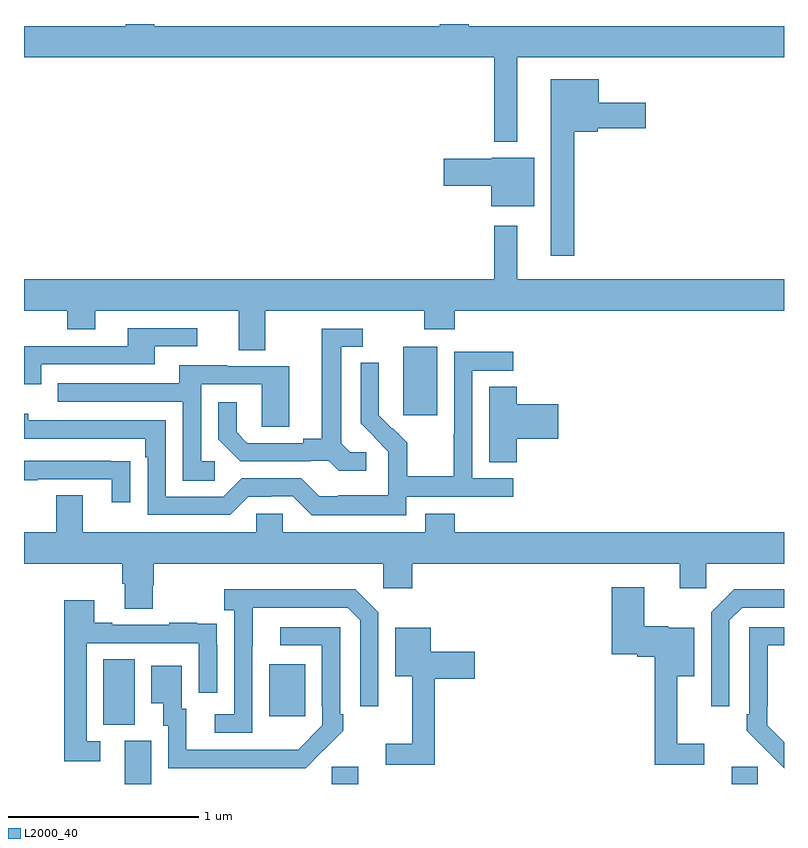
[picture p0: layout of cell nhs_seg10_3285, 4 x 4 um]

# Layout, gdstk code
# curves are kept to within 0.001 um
import gdstk
lib = gdstk.Library(unit=1e-6, precision=1e-09)
def R(c, l, rs):  # rectangles x0, y0, x1, y1
    for r in rs: c.add(gdstk.rectangle(r[:2], r[2:], *l))
def P(c, l, *ps):  # polygons
    for p in ps: c.add(gdstk.Polygon(p, *l))
L2000_40 = (2000, 40)

nhs_seg10_3285 = lib.new_cell('nhs_seg10_3285')
R(nhs_seg10_3285, L2000_40, [(289.529,1288.5,289.669,1288.728), (290.619,1288.5,290.758,1288.59), (292.724,1288.5,292.863,1288.59), (289.418,1288.813,289.582,1289.156), (290.291,1288.857,290.479,1289.131), (290.996,1290.441,291.175,1290.802)])
P(nhs_seg10_3285, L2000_40, [(291.595,1292.324),(293,1292.324),(293,1292.488),(291.341,1292.488),(291.341,1292.5),(291.188,1292.5),(291.188,1292.488),(289.686,1292.488),(289.686,1292.5),(289.535,1292.5),(289.535,1292.488),(289,1292.488),(289,1292.324),(291.474,1292.324),(291.474,1291.88),(291.595,1291.88)],
  [(291.895,1291.934),(292.02,1291.934),(292.02,1291.952),(292.273,1291.952),(292.273,1292.086),(292.024,1292.086),(292.024,1292.209),(291.773,1292.209),(291.773,1291.281),(291.895,1291.281)],
  [(291.685,1291.795),(291.462,1291.795),(291.462,1291.79),(291.21,1291.79),(291.21,1291.648),(291.458,1291.648),(291.458,1291.541),(291.685,1291.541)],
  [(290.269,1290.992),(291.106,1290.992),(291.106,1290.893),(291.266,1290.893),(291.266,1290.992),(293,1290.992),(293,1291.156),(291.595,1291.156),(291.595,1291.438),(291.474,1291.438),(291.474,1291.156),(289,1291.156),(289,1290.992),(289.228,1290.992),(289.228,1290.893),(289.375,1290.893),(289.375,1290.992),(290.129,1290.992),(290.129,1290.784),(290.269,1290.784)],
  [(289.092,1290.708),(289.687,1290.708),(289.687,1290.804),(289.912,1290.804),(289.912,1290.9),(289.547,1290.9),(289.547,1290.804),(289,1290.804),(289,1290.605),(289.092,1290.605)],
  [(290.8,1290.246),(290.718,1290.246),(290.671,1290.293),(290.671,1290.801),(290.782,1290.801),(290.782,1290.897),(290.567,1290.897),(290.567,1290.317),(290.471,1290.317),(290.471,1290.294),(290.176,1290.294),(290.119,1290.351),(290.119,1290.508),(290.022,1290.508),(290.022,1290.314),(290.138,1290.198),(290.51,1290.198),(290.51,1290.201),(290.604,1290.201),(290.656,1290.149),(290.8,1290.149)],
  [(291.012,1290.012),(291.574,1290.012),(291.574,1290.108),(291.36,1290.108),(291.36,1290.675),(291.574,1290.675),(291.574,1290.774),(291.264,1290.774),(291.264,1290.344),(291.262,1290.344),(291.262,1290.121),(291.017,1290.121),(291.017,1290.295),(290.94,1290.372),(290.937,1290.369),(290.867,1290.44),(290.868,1290.716),(290.772,1290.716),(290.772,1290.398),(290.918,1290.25),(290.918,1290.153),(290.916,1290.153),(290.916,1290.019),(290.653,1290.019),(290.653,1290.015),(290.553,1290.015),(290.46,1290.108),(290.145,1290.108),(290.049,1290.012),(289.746,1290.012),(289.746,1290.414),(289.022,1290.414),(289.022,1290.448),(289,1290.448),(289,1290.318),(289.637,1290.318),(289.637,1290.221),(289.65,1290.221),(289.65,1289.916),(290.085,1289.916),(290.181,1290.012),(290.3,1290.012),(290.3,1290.015),(290.415,1290.015),(290.515,1289.915),(291.012,1289.915)],
  [(290.005,1290.198),(289.932,1290.198),(289.932,1290.603),(290.25,1290.603),(290.25,1290.379),(290.395,1290.379),(290.395,1290.699),(290.071,1290.699),(290.071,1290.703),(289.817,1290.703),(289.817,1290.609),(289.177,1290.609),(289.177,1290.513),(289.836,1290.513),(289.836,1290.097),(290.005,1290.097)],
  [(291.593,1290.317),(291.811,1290.317),(291.811,1290.5),(291.593,1290.5),(291.593,1290.59),(291.449,1290.59),(291.449,1290.193),(291.593,1290.193)],
  [(289.559,1290.2),(289.457,1290.2),(289.457,1290.201),(289,1290.201),(289,1290.1),(289.073,1290.1),(289.073,1290.105),(289.463,1290.105),(289.463,1289.982),(289.559,1289.982)],
  [(289.677,1289.547),(289.682,1289.547),(289.682,1289.66),(290.892,1289.66),(290.892,1289.529),(291.044,1289.529),(291.044,1289.66),(292.451,1289.66),(292.451,1289.529),(292.59,1289.529),(292.59,1289.66),(293,1289.66),(293,1289.824),(291.266,1289.824),(291.266,1289.923),(291.113,1289.923),(291.113,1289.824),(290.361,1289.824),(290.361,1289.922),(290.223,1289.922),(290.223,1289.824),(289.309,1289.824),(289.309,1290.019),(289.169,1290.019),(289.169,1289.824),(289,1289.824),(289,1289.66),(289.517,1289.66),(289.517,1289.554),(289.529,1289.554),(289.529,1289.422),(289.677,1289.422)],
  [(292.579,1288.711),(292.439,1288.711),(292.439,1289.066),(292.528,1289.066),(292.528,1289.323),(292.392,1289.323),(292.392,1289.331),(292.264,1289.331),(292.264,1289.536),(292.094,1289.536),(292.094,1289.183),(292.227,1289.183),(292.227,1289.171),(292.321,1289.171),(292.321,1288.602),(292.579,1288.602)],
  [(290.202,1289.227),(290.203,1289.427),(290.703,1289.427),(290.769,1289.361),(290.769,1288.908),(290.865,1288.908),(290.865,1289.403),(290.744,1289.524),(290.055,1289.524),(290.055,1289.414),(290.106,1289.414),(290.106,1288.866),(290.004,1288.866),(290.004,1288.77),(290.202,1288.77)],
  [(292.713,1289.361),(292.779,1289.427),(293,1289.427),(293,1289.524),(292.738,1289.524),(292.617,1289.403),(292.617,1288.908),(292.713,1288.908)],
  [(289.402,1288.725),(289.329,1288.725),(289.329,1289.241),(289.92,1289.241),(289.92,1288.98),(290.016,1288.98),(290.016,1289.234),(290.015,1289.234),(290.015,1289.343),(289.913,1289.343),(289.913,1289.35),(289.765,1289.35),(289.765,1289.337),(289.465,1289.337),(289.465,1289.35),(289.369,1289.35),(289.369,1289.467),(289.213,1289.467),(289.213,1288.62),(289.402,1288.62)],
  [(293,1288.721),(292.911,1288.809),(292.911,1288.909),(292.914,1288.909),(292.914,1289.229),(293,1289.229),(293,1289.325),(292.818,1289.325),(292.818,1288.867),(292.803,1288.867),(292.803,1288.779),(293,1288.584)],
  [(290.573,1288.675),(290.574,1288.674),(290.679,1288.779),(290.679,1288.867),(290.664,1288.867),(290.664,1289.325),(290.349,1289.325),(290.349,1289.229),(290.568,1289.229),(290.568,1288.909),(290.571,1288.909),(290.571,1288.809),(290.443,1288.681),(289.855,1288.68),(289.855,1288.896),(289.831,1288.896),(289.831,1289.122),(289.67,1289.122),(289.67,1288.925),(289.733,1288.925),(289.733,1288.806),(289.758,1288.806),(289.758,1288.584),(290.482,1288.584)],
  [(291.161,1289.054),(291.373,1289.054),(291.373,1289.196),(291.142,1289.196),(291.142,1289.323),(290.954,1289.323),(290.954,1289.066),(291.044,1289.066),(291.044,1288.711),(290.904,1288.711),(290.904,1288.602),(291.161,1288.602)])

lib.write_gds('nhs_seg10_3285.gds')
